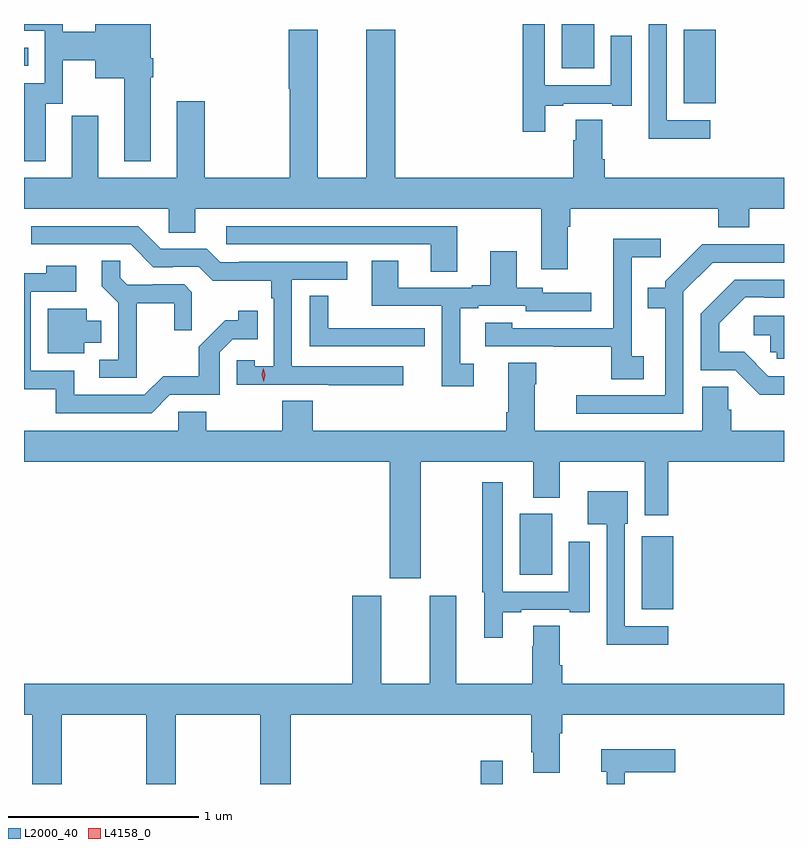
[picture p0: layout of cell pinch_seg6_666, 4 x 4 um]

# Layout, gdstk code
import gdstk
lib = gdstk.Library(unit=1e-6, precision=1e-09)
def R(c, l, rs):  # rectangles x0, y0, x1, y1
    for r in rs: c.add(gdstk.rectangle(r[:2], r[2:], *l))
def P(c, l, *ps):  # polygons
    for p in ps: c.add(gdstk.Polygon(p, *l))
L2000_40 = (2000, 40)
L4158_0 = (4158, 0)

pinch_seg6_666 = lib.new_cell('pinch_seg6_666')
R(pinch_seg6_666, L2000_40, [(493.048,934.984,493.165,935.107), (493.895,935.903,494.062,936.289), (493.253,936.086,493.423,936.406), (494.117,938.567,494.284,938.953), (493.475,938.75,493.645,938.984), (490.644,938.763,490.667,938.859)])
P(pinch_seg6_666, L2000_40, [(493.387,938.553),(493.483,938.553),(493.483,938.565),(493.739,938.565),(493.739,938.553),(493.843,938.553),(493.843,938.923),(493.733,938.923),(493.733,938.661),(493.386,938.661),(493.386,938.984),(493.27,938.984),(493.27,938.418),(493.387,938.418)],
  [(494.257,938.478),(494.028,938.478),(494.028,938.984),(493.932,938.984),(493.932,938.381),(494.257,938.381)],
  [(491.311,938.703),(491.324,938.703),(491.324,938.803),(491.311,938.803),(491.311,938.984),(491.018,938.984),(491.018,938.944),(490.849,938.944),(490.849,938.984),(490.644,938.984),(490.644,938.949),(490.752,938.949),(490.752,938.673),(490.644,938.673),(490.644,938.262),(490.759,938.262),(490.759,938.565),(490.848,938.565),(490.848,938.792),(491.018,938.792),(491.018,938.699),(491.171,938.699),(491.171,938.261),(491.311,938.261)],
  [(493.507,937.916),(493.52,937.916),(493.52,938.012),(494.297,938.012),(494.297,937.913),(494.462,937.913),(494.462,938.012),(494.644,938.012),(494.644,938.176),(493.7,938.176),(493.7,938.272),(493.687,938.272),(493.687,938.48),(493.547,938.48),(493.547,938.372),(493.535,938.372),(493.535,938.176),(492.599,938.176),(492.599,938.955),(492.446,938.955),(492.446,938.176),(492.19,938.176),(492.19,938.955),(492.038,938.955),(492.038,938.643),(492.043,938.643),(492.043,938.176),(491.595,938.176),(491.595,938.578),(491.447,938.578),(491.447,938.176),(491.035,938.176),(491.035,938.5),(490.896,938.5),(490.896,938.387),(490.895,938.387),(490.895,938.176),(490.644,938.176),(490.644,938.012),(491.406,938.012),(491.406,937.885),(491.545,937.885),(491.545,938.012),(493.367,938.012),(493.367,937.692),(493.507,937.692)],
  [(492.64,937.182),(492.054,937.182),(492.054,937.638),(492.346,937.638),(492.346,937.734),(491.776,937.734),(491.776,937.731),(491.676,937.731),(491.607,937.8),(491.364,937.8),(491.244,937.92),(490.682,937.92),(490.682,937.824),(491.205,937.824),(491.325,937.704),(491.426,937.704),(491.426,937.707),(491.565,937.707),(491.638,937.634),(491.946,937.634),(491.946,937.541),(491.958,937.541),(491.958,937.183),(491.859,937.183),(491.859,937.215),(491.763,937.215),(491.763,937.086),(492.247,937.086),(492.247,937.084),(492.64,937.084)],
  [(492.925,937.92),(491.709,937.92),(491.709,937.824),(492.785,937.824),(492.785,937.681),(492.925,937.681)],
  [(493.906,937.236),(493.842,937.236),(493.842,937.757),(493.996,937.757),(493.996,937.855),(493.744,937.855),(493.744,937.616),(493.746,937.616),(493.746,937.383),(493.215,937.383),(493.215,937.411),(493.071,937.411),(493.071,937.287),(493.429,937.287),(493.429,937.285),(493.734,937.285),(493.734,937.114),(493.906,937.114)],
  [(494.115,937.575),(494.268,937.728),(494.644,937.728),(494.644,937.826),(494.545,937.826),(494.545,937.824),(494.214,937.824),(494.019,937.629),(494.019,937.597),(493.927,937.597),(493.927,937.488),(494.018,937.488),(494.018,937.029),(493.551,937.029),(493.551,936.933),(494.115,936.933)],
  [(493.012,937.197),(492.94,937.197),(492.94,937.488),(493.036,937.488),(493.036,937.5),(493.284,937.5),(493.284,937.473),(493.63,937.473),(493.63,937.569),(493.374,937.569),(493.374,937.596),(493.237,937.596),(493.237,937.789),(493.097,937.789),(493.097,937.609),(493.001,937.609),(493.001,937.596),(492.613,937.596),(492.613,937.739),(492.473,937.739),(492.473,937.5),(492.843,937.5),(492.843,937.077),(493.012,937.077)],
  [(491.237,937.514),(491.434,937.514),(491.434,937.371),(491.528,937.371),(491.528,937.573),(491.487,937.614),(491.322,937.614),(491.322,937.611),(491.188,937.611),(491.151,937.648),(491.151,937.739),(491.053,937.739),(491.053,937.603),(491.139,937.517),(491.139,937.218),(491.04,937.218),(491.04,937.122),(491.237,937.122)],
  [(491.412,937.032),(491.673,937.032),(491.673,937.257),(491.742,937.326),(491.873,937.326),(491.873,937.474),(491.772,937.474),(491.772,937.424),(491.702,937.424),(491.565,937.286),(491.565,937.131),(491.376,937.131),(491.277,937.032),(490.909,937.032),(490.909,937.158),(490.68,937.158),(490.68,937.575),(490.918,937.575),(490.918,937.711),(490.762,937.711),(490.762,937.671),(490.644,937.671),(490.644,937.062),(490.811,937.062),(490.811,936.936),(491.316,936.936)],
  [(494.644,937.131),(494.562,937.131),(494.435,937.258),(494.302,937.258),(494.302,937.408),(494.439,937.545),(494.539,937.545),(494.539,937.542),(494.644,937.542),(494.644,937.638),(494.384,937.638),(494.205,937.459),(494.205,937.161),(494.388,937.161),(494.516,937.034),(494.644,937.034)],
  [(492.754,937.382),(492.641,937.382),(492.641,937.383),(492.246,937.383),(492.246,937.553),(492.147,937.553),(492.147,937.287),(492.754,937.287)],
  [(490.96,937.307),(491.05,937.307),(491.05,937.423),(490.975,937.423),(490.975,937.486),(490.769,937.486),(490.769,937.25),(490.96,937.25)],
  [(494.644,937.449),(494.484,937.449),(494.484,937.346),(494.571,937.346),(494.571,937.257),(494.607,937.257),(494.607,937.221),(494.644,937.221)],
  [(492.733,936.68),(493.325,936.68),(493.325,936.491),(493.465,936.491),(493.465,936.68),(493.91,936.68),(493.91,936.399),(494.036,936.399),(494.036,936.68),(494.644,936.68),(494.644,936.844),(494.366,936.844),(494.366,936.954),(494.351,936.954),(494.351,937.076),(494.213,937.076),(494.213,936.844),(493.333,936.844),(493.333,937.088),(493.341,937.088),(493.341,937.201),(493.193,937.201),(493.193,936.94),(493.181,936.94),(493.181,936.844),(492.164,936.844),(492.164,937.001),(492.004,937.001),(492.004,936.844),(491.604,936.844),(491.604,936.942),(491.457,936.942),(491.457,936.844),(490.644,936.844),(490.644,936.68),(492.569,936.68),(492.569,936.066),(492.733,936.066)],
  [(493.165,935.889),(493.261,935.889),(493.261,935.901),(493.517,935.901),(493.517,935.889),(493.621,935.889),(493.621,936.259),(493.511,936.259),(493.511,935.997),(493.164,935.997),(493.164,936.571),(493.056,936.571),(493.056,935.994),(493.067,935.994),(493.067,935.754),(493.165,935.754)],
  [(494.035,935.814),(493.806,935.814),(493.806,936.354),(493.822,936.354),(493.822,936.526),(493.61,936.526),(493.61,936.35),(493.71,936.35),(493.71,935.717),(494.035,935.717)],
  [(490.842,935.348),(491.287,935.348),(491.287,934.984),(491.442,934.984),(491.442,935.348),(491.887,935.348),(491.887,934.984),(492.047,934.984),(492.047,935.348),(493.313,935.348),(493.313,935.152),(493.325,935.152),(493.325,935.044),(493.465,935.044),(493.465,935.252),(493.478,935.252),(493.478,935.348),(494.644,935.348),(494.644,935.512),(493.478,935.512),(493.478,935.608),(493.465,935.608),(493.465,935.816),(493.325,935.816),(493.325,935.708),(493.318,935.708),(493.318,935.512),(492.919,935.512),(492.919,935.974),(492.779,935.974),(492.779,935.512),(492.523,935.512),(492.523,935.974),(492.371,935.974),(492.371,935.512),(490.644,935.512),(490.644,935.348),(490.687,935.348),(490.687,934.984),(490.842,934.984)],
  [(493.806,935.045),(494.071,935.045),(494.071,935.167),(493.682,935.167),(493.682,935.049),(493.71,935.049),(493.71,934.984),(493.806,934.984)])
P(pinch_seg6_666, L4158_0, [(491.906,937.101),(491.895,937.137),(491.904,937.173),(491.904,937.173),(491.904,937.173),(491.915,937.138),(491.907,937.101),(491.907,937.101)])

lib.write_gds('pinch_seg6_666.gds')
